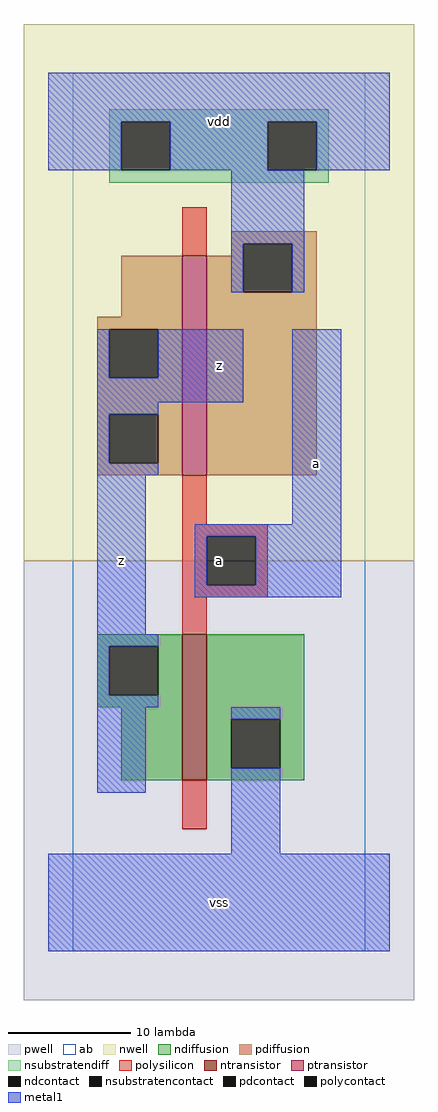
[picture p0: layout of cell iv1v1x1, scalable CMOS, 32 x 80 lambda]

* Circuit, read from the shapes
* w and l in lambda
.subckt iv1v1x1 a vdd vss z
M1 vss a z VSUBS nfet w=12 l=2
M2 vdd a z vdd pfet w=18 l=2
.ends

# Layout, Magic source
magic
tech scmos
<< ab >>
rect 0 0 24 72
<< pwell >>
rect -4 -4 28 32
<< nwell >>
rect -4 32 28 76
<< polysilicon >>
rect 9 57 11 61
rect 9 35 11 39
rect 9 34 16 35
rect 9 30 11 34
rect 15 30 16 34
rect 9 29 16 30
rect 9 26 11 29
rect 9 10 11 14
<< ndiffusion >>
rect 2 25 9 26
rect 2 21 3 25
rect 7 21 9 25
rect 2 20 9 21
rect 4 14 9 20
rect 11 19 19 26
rect 11 15 13 19
rect 17 15 19 19
rect 11 14 19 15
<< pdiffusion >>
rect 13 58 20 59
rect 13 57 14 58
rect 4 52 9 57
rect 2 51 9 52
rect 2 47 3 51
rect 7 47 9 51
rect 2 44 9 47
rect 2 40 3 44
rect 7 40 9 44
rect 2 39 9 40
rect 11 54 14 57
rect 18 54 20 58
rect 11 39 20 54
<< metal1 >>
rect -2 68 26 72
rect -2 64 4 68
rect 8 64 16 68
rect 20 64 26 68
rect 13 58 19 64
rect 13 54 14 58
rect 18 54 19 58
rect 2 47 3 51
rect 7 47 14 51
rect 2 45 14 47
rect 2 44 7 45
rect 2 40 3 44
rect 2 39 7 40
rect 2 26 6 39
rect 18 35 22 51
rect 10 34 22 35
rect 10 30 11 34
rect 15 30 22 34
rect 10 29 22 30
rect 2 25 7 26
rect 2 21 3 25
rect 2 20 7 21
rect 2 13 6 20
rect 13 19 17 20
rect 13 8 17 15
rect -2 0 26 8
<< ntransistor >>
rect 9 14 11 26
<< ptransistor >>
rect 9 39 11 57
<< polycontact >>
rect 11 30 15 34
<< ndcontact >>
rect 3 21 7 25
rect 13 15 17 19
<< pdcontact >>
rect 3 47 7 51
rect 3 40 7 44
rect 14 54 18 58
<< nsubstratencontact >>
rect 4 64 8 68
rect 16 64 20 68
<< nsubstratendiff >>
rect 3 68 21 69
rect 3 64 4 68
rect 8 64 16 68
rect 20 64 21 68
rect 3 63 21 64
<< labels >>
rlabel metal1 4 32 4 32 6 z
rlabel metal1 12 4 12 4 6 vss
rlabel polycontact 12 32 12 32 6 a
rlabel metal1 12 48 12 48 6 z
rlabel metal1 12 68 12 68 6 vdd
rlabel metal1 20 40 20 40 6 a
<< end >>
